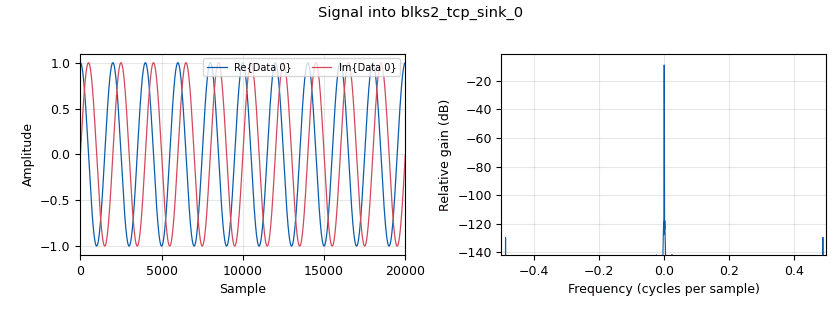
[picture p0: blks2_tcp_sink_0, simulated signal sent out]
<?xml version='1.0' encoding='utf-8'?>
<flow_graph>
<block>
<key>options</key>
<param><key>id</key><value>top_block</value></param>
<param><key>generate_options</key><value>wx_gui</value></param>
<param><key>category</key><value>Custom</value></param>
</block>
<block>
<key>variable</key>
<param><key>id</key><value>samp_rate</value></param>
<param><key>value</key><value>2e6</value></param>
</block>
<block>
<key>analog_sig_source_x</key>
<param><key>id</key><value>analog_sig_source_x_0</value></param>
<param><key>type</key><value>complex</value></param>
<param><key>samp_rate</key><value>samp_rate</value></param>
<param><key>waveform</key><value>analog.GR_COS_WAVE</value></param>
<param><key>freq</key><value>1000</value></param>
<param><key>amp</key><value>1</value></param>
<param><key>offset</key><value>0</value></param>
</block>
<block>
<key>blocks_throttle</key>
<param><key>id</key><value>blocks_throttle_0</value></param>
<param><key>type</key><value>complex</value></param>
<param><key>samples_per_second</key><value>samp_rate</value></param>
</block>
<block>
<key>blks2_tcp_sink</key>
<param><key>id</key><value>blks2_tcp_sink_0</value></param>
<param><key>type</key><value>complex</value></param>
<param><key>addr</key><value>127.0.0.1</value></param>
<param><key>port</key><value>10000</value></param>
<param><key>server</key><value>False</value></param>
<param><key>vlen</key><value>1</value></param>
</block>
<connection><source_block_id>analog_sig_source_x_0</source_block_id><sink_block_id>blocks_throttle_0</sink_block_id><source_key>0</source_key><sink_key>0</sink_key></connection>
<connection><source_block_id>blocks_throttle_0</source_block_id><sink_block_id>blks2_tcp_sink_0</sink_block_id><source_key>0</source_key><sink_key>0</sink_key></connection>
</flow_graph>
